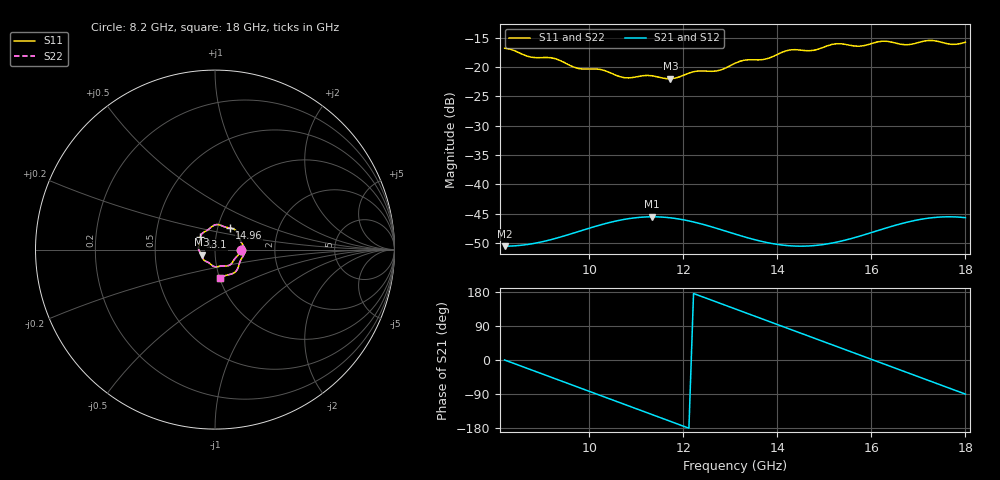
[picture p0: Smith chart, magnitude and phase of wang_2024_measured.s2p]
! Benchmark Measurement Data: Wang et al. (2024) [Adv. Mater.]
! Total Thickness d = 1.85 mm, FBW = 55.0%, Rozanov Ratio = 0.645
# Hz S RI R 50
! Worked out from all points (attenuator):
!   101 points, 8.2 GHz to 18 GHz, reference 50 ohm
!   highest |S21| = -45.50 dB at 11.34 GHz (marker M1); lowest = -50.5 dB at 8.2 GHz (marker M2)
!   lowest |S11| = -22.0 dB at 11.73 GHz (marker M3), VSWR 1.17, Z = 43.1 - j2.49 ohm
!   |S11| at or under -10 dB: start of sweep to end of sweep
!   |S22| runs from -22.0 to -15.5 dB; largest |S21 - S12| = 0
!   S11 on the Smith chart (normalised r, x): 8.2 GHz: 1.34, +0.00; 13.1 GHz: 0.84, +0.12; 14.96 GHz: 1.14, +0.28; 18 GHz: 1.00, -0.33
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8.2e9  0.1444 0  0.00299 0  0.00299 0  0.1444 0
8.788e9  0.1081 -0.0538  0.00279 -0.00142  0.00279 -0.00142  0.1081 -0.0538
9.18e9  0.0861 -0.0834  0.0024 -0.0024  0.0024 -0.0024  0.0861 -0.0834
9.866e9  0.0249 -0.0926  0.000954 -0.00397  0.000954 -0.00397  0.0249 -0.0926
1.0258e10  -0.00432 -0.0947  -0.000357 -0.00453  -0.000357 -0.00453  -0.00432 -0.0947
1.0748e10  -0.0338 -0.0736  -0.00229 -0.0045  -0.00229 -0.0045  -0.0338 -0.0736
1.1336e10  -0.0655 -0.0528  -0.00429 -0.00312  -0.00429 -0.00312  -0.0655 -0.0528
1.1532e10  -0.07 -0.0405  -0.00471 -0.0024  -0.00471 -0.0024  -0.07 -0.0405
1.1728e10  -0.0739 -0.0287  -0.00495 -0.00161  -0.00495 -0.00161  -0.0739 -0.0287
1.2218e10  -0.0911 0.00129  -0.00478 0.000376  -0.00478 0.000376  -0.0911 0.00129
1.2708e10  -0.0852 0.0359  -0.00377 0.00192  -0.00377 0.00192  -0.0852 0.0359
1.31e10  -0.0818 0.0698  -0.00268 0.00268  -0.00268 0.00268  -0.0818 0.0698
1.3786e10  -0.0376 0.1115  -0.000747 0.00311  -0.000747 0.00311  -0.0376 0.1115
1.4276e10  0.00833 0.1394  0.00047 0.00297  0.00047 0.00297  0.00833 0.1394
1.4766e10  0.0595 0.125  0.00158 0.00257  0.00158 0.00257  0.0595 0.125
1.4962e10  0.0822 0.1206  0.002 0.00234  0.002 0.00234  0.0822 0.1206
1.5256e10  0.1162 0.1064  0.00261 0.0019  0.00261 0.0019  0.1162 0.1064
1.5746e10  0.1406 0.0524  0.00353 0.000847  0.00353 0.000847  0.1406 0.0524
1.6432e10  0.1599 -0.0295  0.00419 -0.00136  0.00419 -0.00136  0.1599 -0.0295
1.6726e10  0.1415 -0.062  0.00404 -0.00248  0.00404 -0.00248  0.1415 -0.062
1.7216e10  0.1173 -0.1203  0.00304 -0.00418  0.00304 -0.00418  0.1173 -0.1203
1.8e10  0.0253 -0.16  1.6e-18 -0.00522  1.6e-18 -0.00522  0.0253 -0.16
